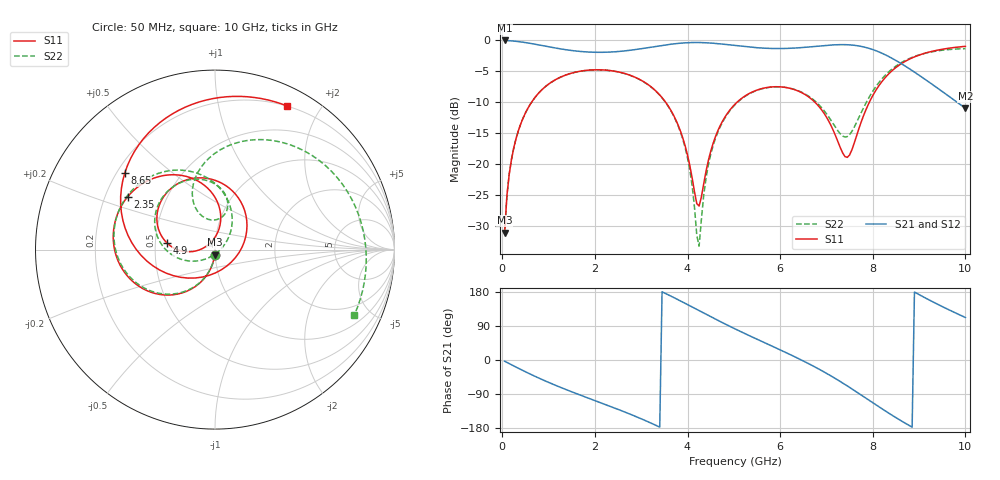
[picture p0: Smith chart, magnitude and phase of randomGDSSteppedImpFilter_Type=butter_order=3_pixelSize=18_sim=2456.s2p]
! freq	dB(S11)	phase(S11)	dB(S12)	phase(S12)
!  dB(S21)	phase(S21)	dB(S22)	phase(S22)
!S-par simulation data
#  GHz  S  DB  R 50
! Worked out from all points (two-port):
!   200 points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, 50 MHz to 10 GHz, reference 50 ohm
!   highest |S21| = -0.01 dB at 50 MHz (marker M1); lowest = -11.0 dB at 10 GHz (marker M2)
!   |S21| within 3 dB of the highest: start of sweep to 8.443 GHz
!   lowest |S11| = -31.1 dB at 50 MHz (marker M3), VSWR 1.06, Z = 49.8 - j2.76 ohm
!   |S11| at or under -10 dB: start of sweep to 634 MHz; 3.525 GHz to 5.071 GHz (1.547 GHz wide, 36 % of centre); 6.749 GHz to 7.927 GHz (1.179 GHz wide, 16.1 % of centre)
!   |S22| runs from -33.3 to -1.3 dB; largest |S21 - S12| = 0
!   S11 on the Smith chart (normalised r, x): 50 MHz: 1.00, -0.06; 2.35 GHz: 0.29, +0.26; 4.9 GHz: 0.58, +0.04; 8.65 GHz: 0.23, +0.35; 10 GHz: 0.20, +1.60
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0.05  -31.13 -93.2  -0.01 -3.2  -0.01 -3.2  -31.13 -93.3
0.1  -25.13 -96.6  -0.02 -6.4  -0.02 -6.4  -25.13 -96.7
0.2  -19.21 -103.0  -0.08 -12.7  -0.08 -12.7  -19.21 -103.3
0.5  -11.75 -121.3  -0.35 -31.1  -0.35 -31.1  -11.75 -122.0
1.05  -6.81 -151.5  -1.10 -61.7  -1.10 -61.7  -6.82 -153.0
1.75  -4.91 175.3  -1.83 -95.7  -1.83 -95.7  -4.92 172.5
2.35  -4.90 148.7  -1.88 -123.2  -1.88 -123.2  -4.91 144.3
3.4  -8.84 99.1  -0.87 -177.1  -0.87 -177.1  -8.88 88.5
3.95  -17.12 78.4  -0.39 149.4  -0.39 149.4  -17.44 49.2
4.25  -26.83 140.4  -0.34 130.2  -0.34 130.2  -33.34 -68.9
4.45  -19.45 -176.0  -0.40 117.5  -0.40 117.5  -20.17 -142.6
4.9  -11.42 172.4  -0.72 89.6  -0.72 89.6  -11.53 -178.0
5.05  -10.15 165.0  -0.85 80.7  -0.85 80.7  -10.23 172.4
5.9  -7.50 120.2  -1.31 32.4  -1.31 32.4  -7.52 123.9
6.7  -9.66 69.6  -1.01 -15.1  -1.01 -15.1  -9.50 83.3
7.05  -13.09 36.4  -0.77 -38.6  -0.77 -38.6  -12.41 73.3
7.45  -18.95 -55.2  -0.70 -68.4  -0.70 -68.4  -15.58 97.1
7.85  -11.28 -147.8  -1.14 -100.6  -1.14 -100.6  -10.19 113.7
8.35  -5.37 162.4  -2.63 -140.7  -2.63 -140.7  -5.06 86.7
8.65  -3.61 139.5  -3.92 -163.1  -3.92 -163.1  -3.45 65.6
9.35  -1.65 96.2  -7.47 150.1  -7.47 150.1  -1.75 17.0
10  -0.96 63.5  -11.00 112.1  -11.00 112.1  -1.33 -25.3
